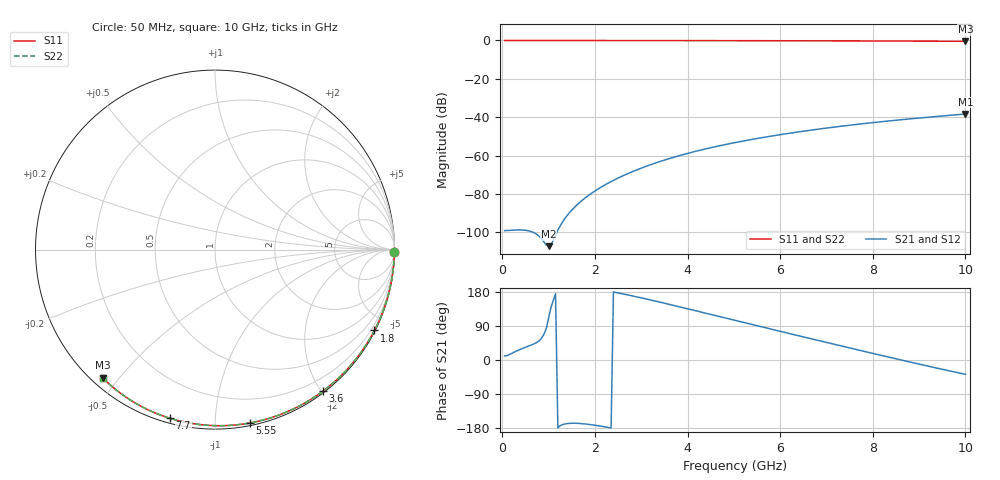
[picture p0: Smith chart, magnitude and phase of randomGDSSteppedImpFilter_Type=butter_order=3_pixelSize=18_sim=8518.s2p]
! freq	dB(S11)	phase(S11)	dB(S12)	phase(S12)
!  dB(S21)	phase(S21)	dB(S22)	phase(S22)
!S-par simulation data
#  GHz  S  DB  R 50
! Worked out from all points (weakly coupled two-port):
!   200 points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, 50 MHz to 10 GHz, reference 50 ohm
!   highest |S21| = -38.30 dB at 10 GHz (marker M1); lowest = -107.1 dB at 1 GHz (marker M2)
!   lowest |S11| = -0.4 dB at 10 GHz (marker M3), VSWR 38.82, Z = 1.55 - j22.6 ohm
!   |S11| at or under -10 dB: nowhere
!   |S22| runs from -0.4 to 0.0 dB; largest |S21 - S12| = 0
!   S11 on the Smith chart (normalised r, x): 50 MHz: open; 1.8 GHz: 0.04, -4.18; 3.6 GHz: 0.02, -2.02; 5.55 GHz: 0.02, -1.22; 7.7 GHz: 0.02, -0.77; 10 GHz: 0.03, -0.45
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0.05  -0.00 -0.8  -99.07 10.7  -99.07 10.7  -0.00 -0.8
0.5  -0.01 -7.6  -98.86 33.6  -98.86 33.6  -0.01 -7.6
1  -0.02 -15.1  -107.14 111.3  -107.14 111.3  -0.02 -15.1
1.75  -0.03 -26.2  -82.76 -168.3  -82.76 -168.3  -0.03 -26.2
1.8  -0.03 -26.9  -81.80 -168.9  -81.80 -168.9  -0.03 -26.9
1.9  -0.04 -28.4  -80.03 -170.4  -80.03 -170.4  -0.04 -28.4
2.05  -0.04 -30.6  -77.62 -173.0  -77.62 -173.0  -0.04 -30.6
2.25  -0.04 -33.5  -74.77 -177.2  -74.77 -177.2  -0.04 -33.5
2.55  -0.05 -37.8  -71.09 175.8  -71.09 175.8  -0.05 -37.8
2.95  -0.06 -43.5  -66.96 165.4  -66.96 165.4  -0.06 -43.5
3.4  -0.07 -49.8  -63.08 152.8  -63.08 152.8  -0.07 -49.8
3.6  -0.07 -52.6  -61.56 147.0  -61.56 147.0  -0.07 -52.6
3.9  -0.08 -56.7  -59.47 138.1  -59.47 138.1  -0.08 -56.7
4.3  -0.09 -62.2  -56.99 126.2  -56.99 126.2  -0.09 -62.2
5.05  -0.11 -72.1  -53.07 103.8  -53.07 103.8  -0.11 -72.1
5.55  -0.13 -78.6  -50.86 88.9  -50.86 88.9  -0.13 -78.6
6.1  -0.15 -85.5  -48.69 72.7  -48.69 72.7  -0.15 -85.5
6.7  -0.18 -92.9  -46.59 55.1  -46.59 55.1  -0.18 -92.9
7.7  -0.24 -104.9  -43.58 26.0  -43.58 26.0  -0.24 -104.9
8.35  -0.29 -112.5  -41.90 7.4  -41.90 7.4  -0.29 -112.5
9.15  -0.36 -121.7  -40.07 -15.0  -40.07 -15.0  -0.36 -121.7
10  -0.45 -131.2  -38.30 -37.7  -38.30 -37.7  -0.45 -131.2
